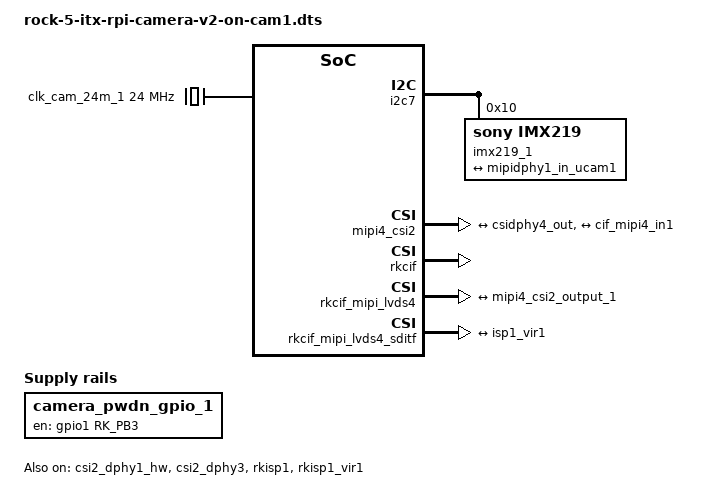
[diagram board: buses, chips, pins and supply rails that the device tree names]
/dts-v1/;
/plugin/;

#include <dt-bindings/gpio/gpio.h>
#include <dt-bindings/pinctrl/rockchip.h>

/ {
	metadata {
		title ="Enable Raspberry Pi Camera v2 on CAM1";
		compatible = "radxa,rock-5-itx";
		category = "camera";
		exclusive = "csi2_dphy0";
		description = "Enable Raspberry Pi Camera v2 on CAM1.";
	};
};

&{/} {
	camera_pwdn_gpio_1: camera-pwdn-gpio-1 {
		compatible = "regulator-fixed";
		regulator-name = "camera_pwdn_gpio_1";
		regulator-always-on;
		regulator-boot-on;
		enable-active-high;
		gpio = <&gpio1 RK_PB3 GPIO_ACTIVE_LOW>;
		pinctrl-names = "default";
		pinctrl-0 = <&cam_pwdn_gpio_1>;
	};

	clk_cam_24m_1: external-camera-clock-24m-1 {
		compatible = "fixed-clock";
		clock-frequency = <24000000>;
		clock-output-names = "clk_cam_24m_1";
		#clock-cells = <0>;
	};
};

&i2c7 {
	status = "okay";
	#address-cells = <1>;
	#size-cells = <0>;

	imx219_1: imx219-1@10 {
		compatible = "sony,imx219";
		reg = <0x10>;

		clocks = <&clk_cam_24m_1>;
		clock-names = "xvclk";

		rockchip,camera-module-index = <1>;
		rockchip,camera-module-facing = "front";
		rockchip,camera-module-name = "rpi-camera-v2";
		rockchip,camera-module-lens-name = "default";


		port {
			imx219_out1: endpoint {
				remote-endpoint = <&mipidphy1_in_ucam1>;
				data-lanes = <1 2>;
			};
		};
	};
};

&csi2_dphy1_hw {
	status = "okay";
};

&csi2_dphy3 {
	status = "okay";

	ports {
		#address-cells = <1>;
		#size-cells = <0>;

		port@0 {
			reg = <0>;
			#address-cells = <1>;
			#size-cells = <0>;

			mipidphy1_in_ucam1: endpoint@1 {
				reg = <1>;
				remote-endpoint = <&imx219_out1>;
				data-lanes = <1 2>;
			};
		};

		port@1 {
			reg = <1>;
			#address-cells = <1>;
			#size-cells = <0>;

			csidphy4_out: endpoint@0 {
				reg = <0>;
				remote-endpoint = <&mipi4_csi2_input_1>;
			};
		};
	};
};

&mipi4_csi2 {
	status = "okay";

	ports {
		#address-cells = <1>;
		#size-cells = <0>;

		port@0 {
			reg = <0>;
			#address-cells = <1>;
			#size-cells = <0>;

			mipi4_csi2_input_1: endpoint@1 {
				reg = <1>;
				remote-endpoint = <&csidphy4_out>;
			};
		};

		port@1 {
			reg = <1>;
			#address-cells = <1>;
			#size-cells = <0>;

			mipi4_csi2_output_1: endpoint@0 {
				reg = <0>;
				remote-endpoint = <&cif_mipi4_in1>;
			};
		};
	};
};

&rkcif {
	status = "okay";
};

&rkcif_mipi_lvds4 {
	status = "okay";

	port {
		cif_mipi4_in1: endpoint {
			remote-endpoint = <&mipi4_csi2_output_1>;
		};
	};
};

&rkcif_mipi_lvds4_sditf {
	status = "okay";

	port {
		mipi4_lvds2_sditf_1: endpoint {
			remote-endpoint = <&isp1_vir1>;
		};
	};
};

&rkcif_mmu {
	status = "okay";
};

&isp1_mmu {
	status = "okay";
};

&rkisp1 {
	status = "okay";
};

&rkisp1_vir1 {
	status = "okay";

	port {
		#address-cells = <1>;
		#size-cells = <0>;

		isp1_vir1: endpoint@0 {
			reg = <0>;
			remote-endpoint = <&mipi4_lvds2_sditf_1>;
		};
	};
};

&pinctrl {
	camera {
		cam_pwdn_gpio_1: cam-pwdn-gpio-1 {
			rockchip,pins = <1 RK_PB3 RK_FUNC_GPIO &pcfg_pull_up>;
		};
	};
};
